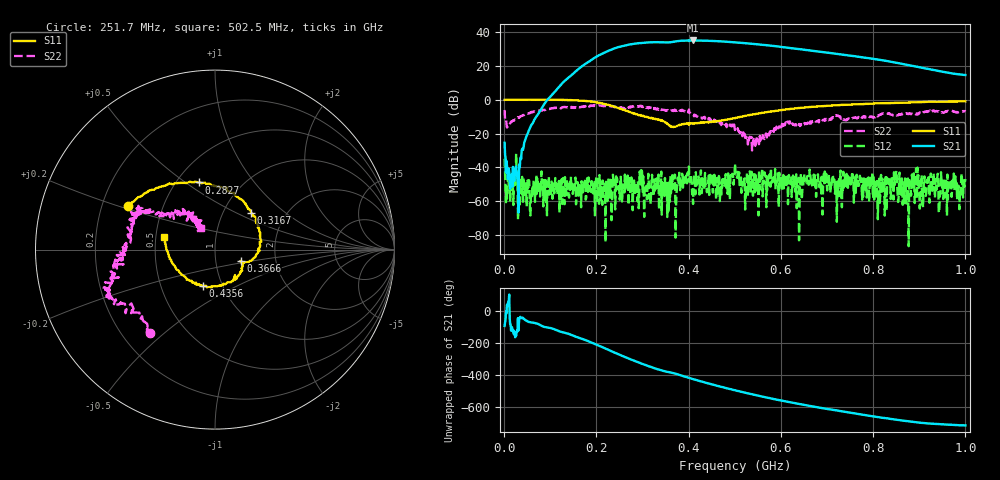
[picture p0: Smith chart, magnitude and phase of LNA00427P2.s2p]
! Created with skrf 1.9.0 (http://scikit-rf.org).
# Hz S RI R 50.0
!freq ReS11 ImS11 ReS21 ImS21 ReS12 ImS12 ReS22 ImS22
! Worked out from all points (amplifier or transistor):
!   1001 points, 1 MHz to 1 GHz, reference 50 ohm
!   highest |S21| = 35.1 dB at 408.6 MHz (marker M1)
!   |S21| within 3 dB of that: 262.3 MHz to 574.4 MHz (312 MHz wide, 74.6 % of centre) (the widest 1 of 2)
!   unconditionally stable (mu >= 1): 205 MHz to 293.5 MHz; 299.4 MHz to 400.2 MHz; 400.8 MHz to end of sweep (the widest 3 of 41)
!   at 166.8 MHz: K = 6.26, MAG = 30.6 dB, |S12| = -63.6 dB
!   at 500.5 MHz: K = 1.05, MAG = 34.6 dB, |S12| = -37.8 dB
!   at 1 GHz: K = 3.41, MAG = 22.6 dB, |S12| = -47.0 dB
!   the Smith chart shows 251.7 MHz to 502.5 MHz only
!   S11 on the Smith chart (normalised r, x): 251.7 MHz: 0.31, +0.21; 282.7 MHz: 0.64, +0.56; 316.7 MHz: 1.35, +0.60; 366.6 MHz: 1.32, -0.17; 435.6 MHz: 0.81, -0.34; 502.5 MHz: 0.55, +0.08
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1000000  0.9909 0.00314  -0.00576 -0.053  -0.00425 0.0174  0.364 0.3403
1.08892e8  0.5268 -0.8448  -0.7641 -1.485  -0.00141 -0.000914  0.4289 -0.3743
1.67833e8  -0.2221 -0.9095  -9.56 -0.7024  0.0014 0.00361  0.0362 -0.6189
2.13787e8  -0.689 -0.3455  -15.21 17.86  -0.002 -0.00353  -0.2332 -0.6359
2.31769e8  -0.6681 -0.0332  -8.676 28.84  0.00035 0.0013  -0.2908 -0.5606
2.51749e8  -0.4874 0.2406  5.175 36.78  -0.00126 -0.00272  -0.3628 -0.4652
2.82718e8  -0.0909 0.3739  31.91 32.16  0.00231 0.000178  -0.6019 -0.2358
3.16684e8  0.2018 0.2045  49.3 7.654  -0.00108 -0.00109  -0.5774 -0.1218
3.34666e8  0.2586 0.0444  49.75 -7.654  -0.000873 0.00601  -0.5045 -0.03
3.66634e8  0.1424 -0.0629  44.58 -26.29  -0.00187 0.00304  -0.4363 0.1514
3.83617e8  0.151 -0.1071  38.81 -39.77  0.000683 0.00408  -0.4139 0.2177
4.08592e8  0.0698 -0.1818  21.25 -52.6  0.00133 -0.00109  -0.3172 0.2081
4.35565e8  -0.0688 -0.2017  -0.1051 -55.78  0.0037 0.00573  -0.1944 0.1905
4.63537e8  -0.1953 -0.1278  -19.69 -50.19  0.00157 0.000639  -0.13 0.1667
5.005e8  -0.2761 0.0632  -37.65 -33.09  0.00828 -0.00977  -0.0895 0.0896
5.02498e8  -0.2851 0.07  -37.97 -31.95  0.00681 0.000158  -0.0793 0.1207
5.4046e8  -0.2458 0.2737  -43.28 -11.14  0.00551 -0.00256  -0.0557 0.039
5.88412e8  -0.0717 0.4602  -36.87 10.39  3.87e-05 -0.0022  -0.1189 -0.0497
6.67333e8  0.3032 0.5337  -14.46 24.01  0.00209 -0.00205  -0.2163 -0.0364
7.55245e8  0.6224 0.3687  3.681 19.32  0.00121 -0.00513  -0.2795 0.0427
8.34166e8  0.7817 0.1455  9.725 9.484  0.00151 -0.00276  -0.3754 0.0575
1e9  0.8092 -0.3924  5.384 0.156  -0.00372 -0.0025  -0.2217 0.3818
